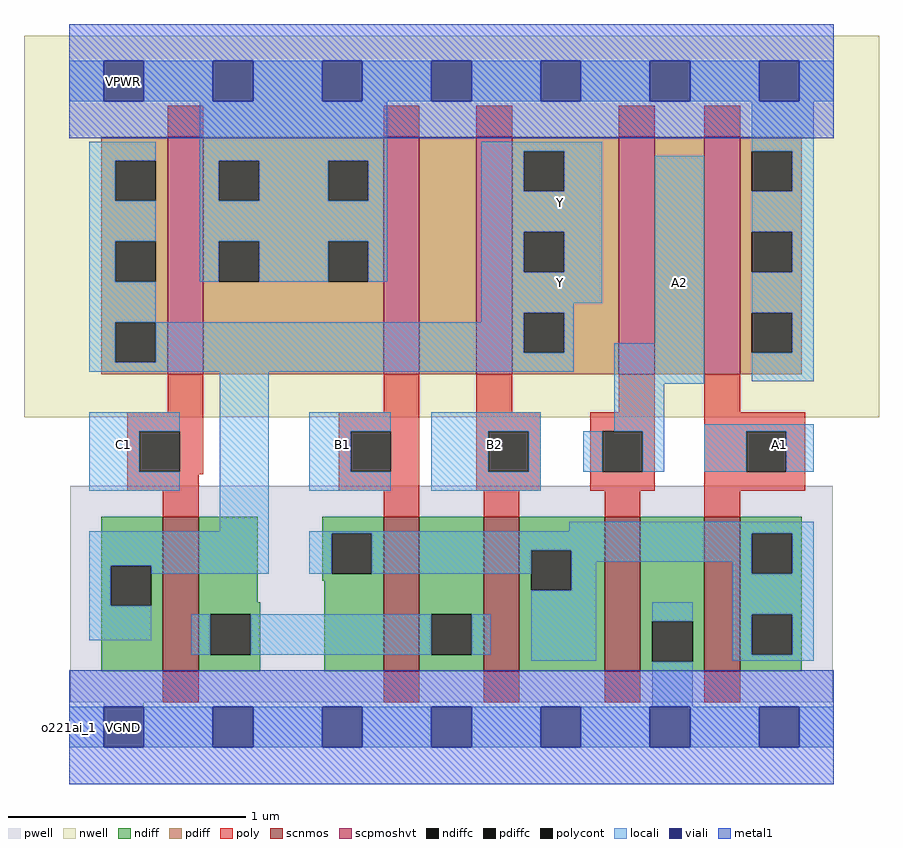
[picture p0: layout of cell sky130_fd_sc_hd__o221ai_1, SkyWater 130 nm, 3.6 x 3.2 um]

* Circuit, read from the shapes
.subckt sky130_fd_sc_hd__o221ai_1 VGND VPWR VPB VNB A1 A2 Y B2 C1 B1
XM1 n1 C1 Y VNB sky130_fd_pr__nfet_01v8 w=0.65 l=0.15
XM2 n1 B1 n2 VNB sky130_fd_pr__nfet_01v8 w=0.65 l=0.15
XM3 n2 B2 n1 VNB sky130_fd_pr__nfet_01v8 w=0.65 l=0.15
XM4 VGND A2 n2 VNB sky130_fd_pr__nfet_01v8 w=0.65 l=0.15
XM5 n2 A1 VGND VNB sky130_fd_pr__nfet_01v8 w=0.65 l=0.15
XM6 VPWR C1 Y VPB sky130_fd_pr__pfet_01v8_hvt w=1 l=0.15
XM7 n3 B1 VPWR VPB sky130_fd_pr__pfet_01v8_hvt w=1 l=0.15
XM8 Y B2 n3 VPB sky130_fd_pr__pfet_01v8_hvt w=1 l=0.15
XM9 n4 A2 Y VPB sky130_fd_pr__pfet_01v8_hvt w=1 l=0.15
XM10 VPWR A1 n4 VPB sky130_fd_pr__pfet_01v8_hvt w=1 l=0.15
.ends

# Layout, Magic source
magic
tech sky130B
magscale 1 2
<< nwell >>
rect -38 221 682 542
<< pwell >>
rect 1 -19 643 163
rect 29 -57 63 -19
<< scnmos >>
rect 79 7 109 137
rect 265 7 295 137
rect 349 7 379 137
rect 451 7 481 137
rect 535 7 565 137
<< scpmoshvt >>
rect 83 257 113 457
rect 265 257 295 457
rect 343 257 373 457
rect 463 257 493 457
rect 535 257 565 457
<< ndiff >>
rect 27 96 79 137
rect 27 62 35 96
rect 69 62 79 96
rect 27 7 79 62
rect 109 65 159 137
rect 213 123 265 137
rect 213 89 221 123
rect 255 89 265 123
rect 213 83 265 89
rect 109 55 161 65
rect 109 21 119 55
rect 153 21 161 55
rect 109 7 161 21
rect 215 7 265 83
rect 295 55 349 137
rect 295 21 305 55
rect 339 21 349 55
rect 295 7 349 21
rect 379 109 451 137
rect 379 75 389 109
rect 423 75 451 109
rect 379 7 451 75
rect 481 49 535 137
rect 481 15 491 49
rect 525 15 535 49
rect 481 7 535 15
rect 565 123 617 137
rect 565 89 575 123
rect 609 89 617 123
rect 565 55 617 89
rect 565 21 575 55
rect 609 21 617 55
rect 565 7 617 21
<< pdiff >>
rect 27 437 83 457
rect 27 403 39 437
rect 73 403 83 437
rect 27 369 83 403
rect 27 335 39 369
rect 73 335 83 369
rect 27 301 83 335
rect 27 267 39 301
rect 73 267 83 301
rect 27 257 83 267
rect 113 437 265 457
rect 113 403 126 437
rect 160 403 218 437
rect 252 403 265 437
rect 113 369 265 403
rect 113 335 126 369
rect 160 335 218 369
rect 252 335 265 369
rect 113 257 265 335
rect 295 257 343 457
rect 373 445 463 457
rect 373 411 383 445
rect 417 411 463 445
rect 373 377 463 411
rect 373 343 383 377
rect 417 343 463 377
rect 373 309 463 343
rect 373 275 383 309
rect 417 275 463 309
rect 373 257 463 275
rect 493 257 535 457
rect 565 445 617 457
rect 565 411 575 445
rect 609 411 617 445
rect 565 377 617 411
rect 565 343 575 377
rect 609 343 617 377
rect 565 309 617 343
rect 565 275 575 309
rect 609 275 617 309
rect 565 257 617 275
<< ndiffc >>
rect 35 62 69 96
rect 221 89 255 123
rect 119 21 153 55
rect 305 21 339 55
rect 389 75 423 109
rect 491 15 525 49
rect 575 89 609 123
rect 575 21 609 55
<< pdiffc >>
rect 39 403 73 437
rect 39 335 73 369
rect 39 267 73 301
rect 126 403 160 437
rect 218 403 252 437
rect 126 335 160 369
rect 218 335 252 369
rect 383 411 417 445
rect 383 343 417 377
rect 383 275 417 309
rect 575 411 609 445
rect 575 343 609 377
rect 575 275 609 309
<< poly >>
rect 83 457 113 483
rect 265 457 295 483
rect 343 457 373 483
rect 463 457 493 483
rect 535 457 565 483
rect 83 225 113 257
rect 265 225 295 257
rect 49 209 113 225
rect 49 175 59 209
rect 93 175 113 209
rect 49 173 113 175
rect 227 209 295 225
rect 227 175 237 209
rect 271 175 295 209
rect 49 159 109 173
rect 227 159 295 175
rect 343 225 373 257
rect 463 225 493 257
rect 343 209 397 225
rect 343 175 353 209
rect 387 175 397 209
rect 343 159 397 175
rect 439 209 493 225
rect 439 175 449 209
rect 483 175 493 209
rect 439 159 493 175
rect 535 225 565 257
rect 535 209 620 225
rect 535 175 570 209
rect 604 175 620 209
rect 535 159 620 175
rect 79 137 109 159
rect 265 137 295 159
rect 349 137 379 159
rect 451 137 481 159
rect 535 137 565 159
rect 79 -19 109 7
rect 265 -19 295 7
rect 349 -19 379 7
rect 451 -19 481 7
rect 535 -19 565 7
<< polycont >>
rect 59 175 93 209
rect 237 175 271 209
rect 353 175 387 209
rect 449 175 483 209
rect 570 175 604 209
<< locali >>
rect 0 487 29 521
rect 63 487 121 521
rect 155 487 213 521
rect 247 487 305 521
rect 339 487 397 521
rect 431 487 489 521
rect 523 487 581 521
rect 615 487 644 521
rect 17 437 73 453
rect 17 403 39 437
rect 17 369 73 403
rect 17 335 39 369
rect 110 437 268 487
rect 110 403 126 437
rect 160 403 218 437
rect 252 403 268 437
rect 110 369 268 403
rect 110 335 126 369
rect 160 335 218 369
rect 252 335 268 369
rect 347 445 449 453
rect 347 411 383 445
rect 417 411 449 445
rect 575 445 627 487
rect 347 377 449 411
rect 347 343 383 377
rect 417 343 449 377
rect 17 301 73 335
rect 347 317 449 343
rect 347 309 425 317
rect 347 301 383 309
rect 17 267 39 301
rect 73 275 383 301
rect 417 275 425 309
rect 493 283 535 441
rect 73 267 425 275
rect 17 259 425 267
rect 17 209 93 225
rect 17 175 59 209
rect 17 159 93 175
rect 127 125 168 259
rect 459 249 535 283
rect 609 411 627 445
rect 575 377 627 411
rect 609 343 627 377
rect 575 309 627 343
rect 609 275 627 309
rect 575 251 627 275
rect 202 209 271 225
rect 202 175 237 209
rect 202 159 271 175
rect 305 209 397 225
rect 459 209 501 249
rect 305 175 353 209
rect 387 175 397 209
rect 433 175 449 209
rect 483 175 501 209
rect 535 209 627 215
rect 535 175 570 209
rect 604 175 627 209
rect 305 159 397 175
rect 421 125 627 133
rect 17 96 168 125
rect 17 62 35 96
rect 69 89 168 96
rect 202 123 627 125
rect 202 89 221 123
rect 255 109 575 123
rect 255 89 389 109
rect 17 33 69 62
rect 423 99 575 109
rect 423 75 444 99
rect 103 21 119 55
rect 153 21 305 55
rect 339 21 355 55
rect 389 16 444 75
rect 559 89 575 99
rect 609 89 627 123
rect 491 49 525 65
rect 559 55 627 89
rect 559 21 575 55
rect 609 21 627 55
rect 559 16 627 21
rect 491 -23 525 15
rect 0 -57 29 -23
rect 63 -57 121 -23
rect 155 -57 213 -23
rect 247 -57 305 -23
rect 339 -57 397 -23
rect 431 -57 489 -23
rect 523 -57 581 -23
rect 615 -57 644 -23
<< viali >>
rect 29 487 63 521
rect 121 487 155 521
rect 213 487 247 521
rect 305 487 339 521
rect 397 487 431 521
rect 489 487 523 521
rect 581 487 615 521
rect 29 -57 63 -23
rect 121 -57 155 -23
rect 213 -57 247 -23
rect 305 -57 339 -23
rect 397 -57 431 -23
rect 489 -57 523 -23
rect 581 -57 615 -23
<< metal1 >>
rect 0 521 644 552
rect 0 487 29 521
rect 63 487 121 521
rect 155 487 213 521
rect 247 487 305 521
rect 339 487 397 521
rect 431 487 489 521
rect 523 487 581 521
rect 615 487 644 521
rect 0 456 644 487
rect 0 -23 644 8
rect 0 -57 29 -23
rect 63 -57 121 -23
rect 155 -57 213 -23
rect 247 -57 305 -23
rect 339 -57 397 -23
rect 431 -57 489 -23
rect 523 -57 581 -23
rect 615 -57 644 -23
rect 0 -88 644 -57
<< labels >>
rlabel comment s 0 -40 0 -40 4 o221ai_1
flabel metal1 s 29 -57 63 -23 0 FreeSans 200 0 0 0 VGND
port 2 nsew
flabel metal1 s 29 487 63 521 0 FreeSans 200 0 0 0 VPWR
port 3 nsew
flabel nwell s 29 487 63 521 0 FreeSans 200 0 0 0 VPB
port 5 nsew
flabel pwell s 29 -57 63 -23 0 FreeSans 200 0 0 0 VNB
port 6 nsew
flabel locali s 497 317 531 351 0 FreeSans 400 0 0 0 A2
port 8 nsew
flabel locali s 397 385 431 419 0 FreeSans 400 0 0 0 Y
port 9 nsew
flabel locali s 213 181 247 215 0 FreeSans 400 0 0 0 B1
port 12 nsew
flabel locali s 29 181 63 215 0 FreeSans 400 0 0 0 C1
port 11 nsew
flabel locali s 581 181 615 215 0 FreeSans 400 0 0 0 A1
port 7 nsew
flabel locali s 397 317 431 351 0 FreeSans 400 0 0 0 Y
port 9 nsew
flabel locali s 341 181 375 215 0 FreeSans 400 0 0 0 B2
port 10 nsew
<< properties >>
string FIXED_BBOX 0 -40 644 504
string path 0.000 -1.000 16.100 -1.000 
<< end >>
